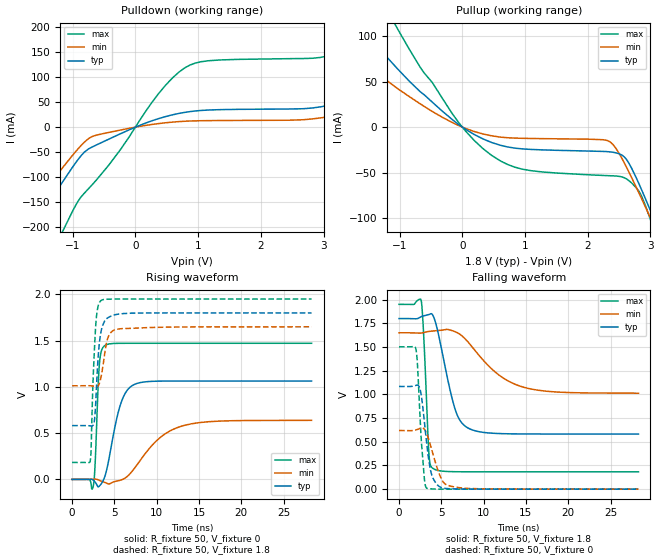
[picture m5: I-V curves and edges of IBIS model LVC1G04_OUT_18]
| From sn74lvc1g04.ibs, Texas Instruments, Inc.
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[Model]   LVC1G04_OUT_18
Model_type  Output
Vref =   0
Rref =   1000
Cref =   30p
Vmeas =   0.9
| variable   typ   min   max
C_comp   9.47pF   6.31pF   13.29pF
| C_pullup   9.62pF   7.44pF   11.29pF
| C_pulldown   9.32pF   6.31pF   13.29pF
[Temperature Range]   40   100   -40
| Ambient temperature   25   85   -40
[Voltage range]   1.8   1.65   1.95
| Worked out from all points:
|   slope of the pulldown table from 0 to 0.27 V, typ, clamps not added: 20.7 ohm
|   slope of the pullup table from 0 to 0.27 V, typ, clamps not added: 24.6 ohm
|   rising waveform, R_fixture 50, V_fixture 0: 20-80 % time 1.54ns typ, 3.89ns min, 390ps max; typ from 0 V to 1.06 V
|   falling waveform, R_fixture 50, V_fixture 1.8: 20-80 % time 1.85ns typ, 4.49ns min, 504ps max; typ from 1.8 V to 0.582 V
|   rising waveform, R_fixture 50, V_fixture 1.8: 20-80 % time 547ps typ, 709ps min, 441ps max; typ from 0.582 V to 1.8 V
|   falling waveform, R_fixture 50, V_fixture 0: 20-80 % time 878ps typ, 1.32ns min, 577ps max; typ from 1.08 V to 0 V
[Pulldown]
| LVC1G04_OUT_18
|   Voltage   I(typ)   I(min)   I(max)
-5.5V     -985.1mA   -870.5mA   -1.151A
-2.045V   -282.5mA   -228.4mA   -426.5mA
-1.695V   -213.2mA   -168.9mA   -343.6mA
-1.215V   -119.7mA   -89.71mA   -222.6mA
-685mV    -39.39mA   -18.49mA   -114.6mA
790mV     29.61mA    11.78mA    118.8mA
2.955V    40.69mA    18.54mA    139.6mA
4.13V     80.87mA    14.33mA    203.6mA
4.775V    38mA       14.4mA     257mA
5.935V    38.13mA    14.56mA    204.2mA
6.48V     38.27mA    14.63mA    144.5mA
11V       39.55mA    15.13mA    146.2mA
[Pullup]
| LVC1G04_OUT_18
|   Voltage   I(typ)   I(min)   I(max)
-5.5V     442.4mA    107.1mA    803.3mA
-2.315V   168.9mA    113.3mA    284.3mA
-1.64V    111.7mA    74.94mA    187.3mA
-1.03V    63.88mA    42.24mA    107.7mA
-55mV     2.697mA    1.645mA    4.796mA
470mV     -16.92mA   -9.565mA   -31.14mA
1.09V     -24.47mA   -12.45mA   -47.79mA
2.36V     -27.2mA    -16.36mA   -53.41mA
2.65V     -38.86mA   -48.38mA   -58.39mA
2.835V    -65.05mA   -75.07mA   -72.57mA
3.085V    -105.9mA   -112.8mA   -119.1mA
11V       -1.685A    -1.6A      -1.811A
[Ramp]
| LVC1G04_OUT_18
| variable   typ   min   max
dV/dt_r   0.69/1.62E-09   0.41/4.04E-09   0.94/4.18E-10
dV/dt_f   0.76/1.91E-09   0.40/4.62E-09   1.09/5.26E-10
R_load = 50
[Rising Waveform]
| LVC1G04_OUT_18
R_fixture =   50
C_fixture =   0
L_fixture =   0
V_fixture =   0
V_fixture_min = 0
V_fixture_max = 0
|   Time   V(typ)   V(min)   V(max)
0s        150.8pV    157.4nV    34.34pV
2.465ns   -5.327mV   2.835mV    -84.95mV
2.7ns     -28.05mV   3.14mV     135.3mV
3.225ns   -71.1mV    -10.34mV   1.248V
3.93ns    50.2mV     -35.29mV   1.451V
5.715ns   809.7mV    -7.766mV   1.472V
7.37ns    1.028V     120.6mV    1.472V
10.25ns   1.062V     441.2mV    1.472V
13.22ns   1.064V     583.3mV    1.472V
28.3ns    1.064V     638.8mV    1.472V
[Falling Waveform]
| LVC1G04_OUT_18
R_fixture =   50
C_fixture =   0
L_fixture =   0
V_fixture =   1.8
V_fixture_min = 1.65
V_fixture_max = 1.95
|   Time   V(typ)   V(min)   V(max)
0s        1.8V       1.65V      1.95V
2.63ns    1.82V      1.648V     1.986V
2.92ns    1.829V     1.653V     1.62V
3.54ns    1.843V     1.664V     368.1mV
4ns       1.835V     1.669V     219.8mV
6.58ns    858.2mV    1.663V     184.4mV
8.11ns    647.4mV    1.558V     183.4mV
11.43ns   588.4mV    1.232V     183.3mV
14.57ns   582.7mV    1.08V      183.3mV
28.3ns    581.8mV    1.012V     183.2mV
[Rising Waveform]
| LVC1G04_OUT_18
R_fixture =   50
C_fixture =   0
L_fixture =   0
V_fixture =   1.8
V_fixture_min = 1.65
V_fixture_max = 1.95
|   Time   V(typ)   V(min)   V(max)
0s        581.8mV    1.012V     183.2mV
2.14ns    579mV      1.013V     201.4mV
2.235ns   577.9mV    1.012V     309mV
2.575ns   607.1mV    1.007V     1.287V
2.785ns   819.2mV    1.002V     1.657V
3.085ns   1.336V     1.013V     1.878V
3.42ns    1.601V     1.109V     1.934V
4.19ns    1.746V     1.521V     1.949V
5.21ns    1.783V     1.622V     1.95V
28.3ns    1.8V       1.65V      1.95V
[Falling Waveform]
| LVC1G04_OUT_18
R_fixture =   50
C_fixture =   0
L_fixture =   0
V_fixture =   0
V_fixture_min = 0
V_fixture_max = 0
|   Time   V(typ)   V(min)   V(max)
0s        1.084V     619mV      1.502V
2.015ns   1.096V     625.7mV    1.47V
2.185ns   1.097V     630.6mV    1.308V
2.7ns     947.3mV    646.7mV    437.4mV
3.04ns    676.4mV    627.7mV    78.98mV
3.3ns     463mV      580.1mV    9.022mV
4.125ns   98.19mV    335.8mV    1.728mV
5.115ns   13.97mV    90.91mV    410.6uV
6.09ns    4.358mV    32.28mV    113.4uV
28.3ns    57.7nV     4.989uV    13.26nV
